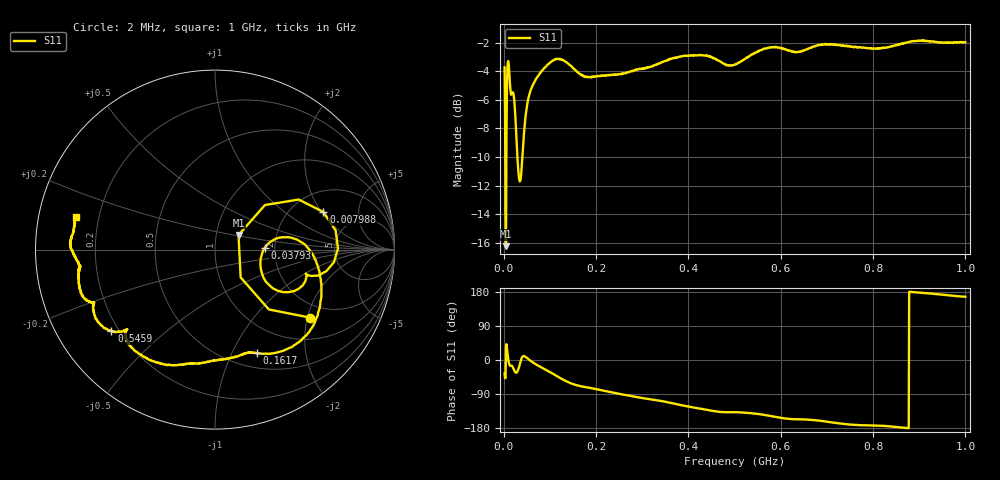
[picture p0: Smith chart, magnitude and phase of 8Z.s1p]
!Keysight Technologies N9923A: A.08.19
!Date: Thursday, 16 January 2020 11:30:00
!TimeZone: (GMT-03:00) Brasilia!Model: N9923A
!Serial: MY51491501
!GPS Latitude:
!GPS Longitude:
!GPS TimeStamp: 0001-01-01 00:00:00Z
!GPS Seconds Since Last Read: 0
!CHECKSUM:1078980270
!Correction: S11(ON U)
!S1P File: Measurement: S11:
# Hz S DB R 50
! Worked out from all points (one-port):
!   1001 points, 2 MHz to 1 GHz, reference 50 ohm
!   lowest |S11| = -16.2 dB at 4.994 MHz (marker M1), VSWR 1.36, Z = 64.1 + j10.7 ohm
!   |S11| at or under -10 dB: 3.459 MHz to 5.805 MHz (2.346 MHz wide, 50.6 % of centre); 29.7 MHz to 40.45 MHz (10.76 MHz wide, 30.7 % of centre)
!   S11 on the Smith chart (normalised r, x): 2 MHz: 1.58, -2.08; 7.988 MHz: 2.95, +2.09; 37.93 MHz: 1.76, +0.03; 161.7 MHz: 0.66, -1.26; 545.9 MHz: 0.17, -0.34; 1 GHz: 0.11, +0.11
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2000000  -3.73 -35.6
4994000  -16.23 31.9
7988000  -3.88 19.1
9984000  -3.28 0.5
1.0982e7  -3.52 -6.0
1.2978e7  -4.53 -14.1
1.697e7  -5.62 -14.8
2.3956e7  -6.49 -30.0
3.194e7  -11.05 -23.7
3.7928e7  -11.18 1.6
4.7908e7  -7.02 7.8
5.7888e7  -5.37 -2.0
7.186e7  -4.44 -13.0
1.00802e8  -3.38 -32.3
1.2675e8  -3.21 -50.4
1.6168e8  -4.10 -67.9
2.515e8  -4.20 -89.6
3.7625e8  -3.02 -117.1
4.45112e8  -2.97 -132.6
4.77048e8  -3.46 -137.6
5.01e8  -3.53 -137.6
5.4591e8  -2.69 -141.9
5.87826e8  -2.32 -149.8
6.2575e8  -2.63 -156.2
6.78644e8  -2.20 -159.6
7.505e8  -2.24 -170.3
8.7525e8  -1.97 -179.5
1e9  -1.97 166.9
